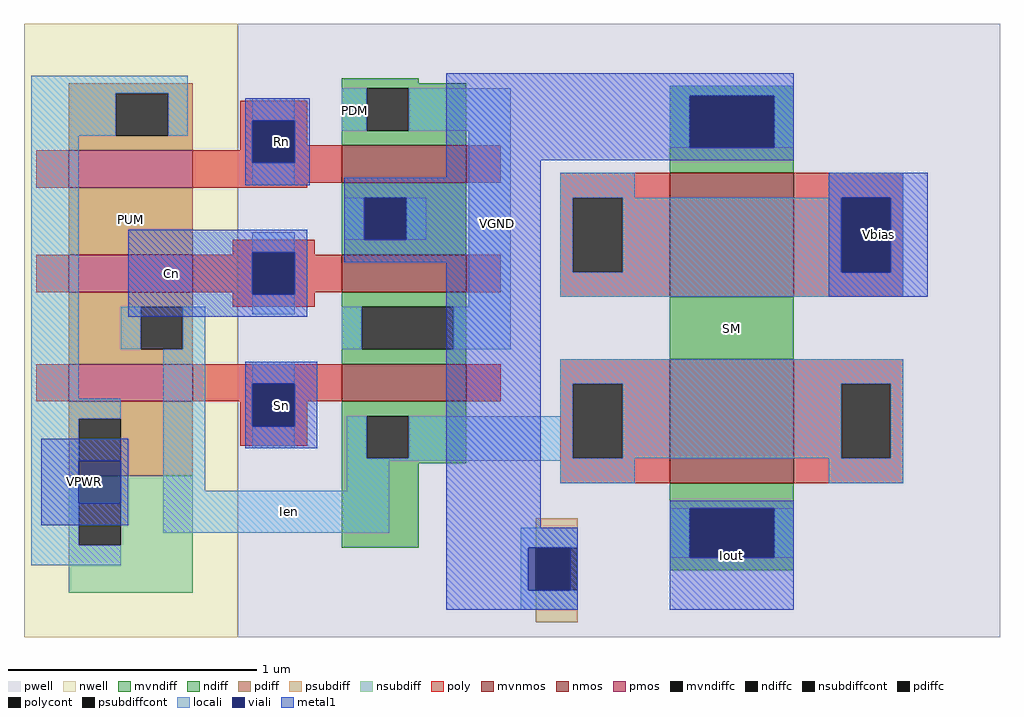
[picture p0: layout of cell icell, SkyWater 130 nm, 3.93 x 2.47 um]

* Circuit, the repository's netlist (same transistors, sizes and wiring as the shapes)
** sch_path: /home/anton/projects/ttsky25a-vga-matrix-dac/xschem/icell.sch
.subckt icell VPWR VGND Rn Cn Sn Vbias Iout
*.PININFO Rn:I VPWR:B Iout:O VGND:B Cn:I Sn:I Vbias:I
XMsp Ien Sn VPWR VPWR sky130_fd_pr__pfet_01v8 L=0.15 W=0.5 nf=1 m=1
XMsna Ien Sn PDM VGND sky130_fd_pr__nfet_01v8 L=0.15 W=0.5 nf=1 m=1
XMcpa Ien Cn PUM VPWR sky130_fd_pr__pfet_01v8 L=0.15 W=0.5 nf=1 m=1
XMrpa PUM Rn VPWR VPWR sky130_fd_pr__pfet_01v8 L=0.15 W=0.5 nf=1 m=1
XMrno PDM Rn VGND VGND sky130_fd_pr__nfet_01v8 L=0.15 W=0.5 nf=1 m=1
XMcno PDM Cn VGND VGND sky130_fd_pr__nfet_01v8 L=0.15 W=0.5 nf=1 m=1
XMiu SM Vbias VGND VGND sky130_fd_pr__nfet_g5v0d10v5 L=0.5 W=0.5 nf=1 m=1
XMsw Iout Ien SM VGND sky130_fd_pr__nfet_g5v0d10v5 L=0.5 W=0.5 nf=1 m=1
.ends

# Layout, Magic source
magic
tech sky130A
<< nwell >>
rect 0 -4 86 243
<< pwell >>
rect 86 -4 393 243
<< nmos >>
rect 128 179 178 194
rect 128 135 178 150
rect 128 91 178 106
<< pmos >>
rect 18 177 68 192
rect 18 135 68 150
rect 18 91 68 106
<< mvnmos >>
rect 260 133 310 183
rect 260 58 310 108
<< ndiff >>
rect 128 219 159 221
rect 128 217 178 219
rect 128 200 138 217
rect 155 200 178 217
rect 128 194 178 200
rect 128 173 178 179
rect 128 156 137 173
rect 154 156 178 173
rect 128 150 178 156
rect 128 129 178 135
rect 128 112 136 129
rect 173 112 178 129
rect 128 106 178 112
rect 128 85 178 91
rect 128 68 138 85
rect 155 68 178 85
rect 128 66 178 68
rect 128 32 159 66
<< pdiff >>
rect 18 215 68 219
rect 18 198 37 215
rect 58 198 68 215
rect 18 192 68 198
rect 18 150 68 177
rect 18 129 68 135
rect 18 112 47 129
rect 64 112 68 129
rect 18 106 68 112
rect 18 84 68 91
rect 18 67 22 84
rect 39 67 68 84
rect 18 61 68 67
<< mvndiff >>
rect 260 214 310 218
rect 260 193 268 214
rect 302 193 310 214
rect 260 183 310 193
rect 260 108 310 133
rect 260 48 310 58
rect 260 28 268 48
rect 302 28 310 48
rect 260 23 310 28
<< ndiffc >>
rect 138 200 155 217
rect 137 156 154 173
rect 136 112 173 129
rect 138 68 155 85
<< pdiffc >>
rect 37 198 58 215
rect 47 112 64 129
rect 22 67 39 84
<< mvndiffc >>
rect 268 193 302 214
rect 268 28 302 48
<< nsubdiff >>
rect 18 50 68 61
rect 18 33 22 50
rect 39 33 68 50
rect 18 14 68 33
<< psubdiff >>
rect 206 32 223 44
rect 206 2 223 15
<< nsubdiffcont >>
rect 22 33 39 50
<< psubdiffcont >>
rect 206 15 223 32
<< poly >>
rect 87 204 114 212
rect 87 192 92 204
rect 5 177 18 192
rect 68 187 92 192
rect 109 194 114 204
rect 109 187 128 194
rect 68 179 128 187
rect 178 179 192 194
rect 68 177 114 179
rect 84 151 117 156
rect 84 150 92 151
rect 5 135 18 150
rect 68 135 92 150
rect 84 134 92 135
rect 109 150 117 151
rect 216 173 260 183
rect 109 135 128 150
rect 178 135 192 150
rect 216 143 221 173
rect 241 143 260 173
rect 109 134 117 135
rect 84 129 117 134
rect 216 133 260 143
rect 310 173 354 183
rect 310 143 329 173
rect 349 143 354 173
rect 310 133 354 143
rect 5 91 18 106
rect 68 98 128 106
rect 68 91 92 98
rect 87 81 92 91
rect 109 91 128 98
rect 178 91 192 106
rect 216 98 260 108
rect 109 81 114 91
rect 87 73 114 81
rect 216 68 221 98
rect 241 68 260 98
rect 216 58 260 68
rect 310 98 354 108
rect 310 68 329 98
rect 349 68 354 98
rect 310 58 354 68
<< polycont >>
rect 92 187 109 204
rect 92 134 109 151
rect 221 143 241 173
rect 329 143 349 173
rect 92 81 109 98
rect 221 68 241 98
rect 329 68 349 98
<< locali >>
rect 3 215 66 222
rect 3 198 37 215
rect 58 198 66 215
rect 92 204 109 213
rect 3 92 22 198
rect 128 200 138 217
rect 155 200 196 217
rect 92 178 109 187
rect 92 151 109 159
rect 129 156 137 173
rect 154 156 162 173
rect 39 112 47 129
rect 64 112 73 129
rect 92 126 109 134
rect 179 129 196 200
rect 260 214 310 218
rect 260 193 268 214
rect 302 193 310 214
rect 216 173 246 183
rect 324 173 354 183
rect 216 143 221 173
rect 241 143 329 173
rect 349 143 354 173
rect 216 133 354 143
rect 128 112 136 129
rect 173 112 196 129
rect 3 84 39 92
rect 3 33 22 84
rect 56 55 73 112
rect 92 98 109 107
rect 216 98 354 108
rect 216 85 221 98
rect 92 72 109 81
rect 130 68 138 85
rect 155 68 221 85
rect 241 68 329 98
rect 349 68 354 98
rect 130 67 246 68
rect 130 55 147 67
rect 216 58 246 67
rect 324 58 354 68
rect 56 38 147 55
rect 3 25 39 33
rect 200 32 223 40
rect 200 15 203 32
rect 260 28 268 48
rect 302 28 310 48
rect 200 7 223 15
<< viali >>
rect 92 187 109 204
rect 137 156 154 173
rect 92 134 109 151
rect 268 193 302 214
rect 329 143 349 173
rect 22 50 39 67
rect 92 81 109 98
rect 203 15 206 32
rect 206 15 220 32
rect 268 28 302 48
<< metal1 >>
rect 170 214 310 223
rect 89 204 115 213
rect 89 187 92 204
rect 109 187 115 204
rect 89 178 115 187
rect 170 193 268 214
rect 302 193 310 214
rect 170 188 310 193
rect 170 181 208 188
rect 129 173 208 181
rect 42 151 114 160
rect 42 134 92 151
rect 109 134 114 151
rect 129 156 137 173
rect 154 156 208 173
rect 129 147 208 156
rect 42 125 114 134
rect 89 98 118 107
rect 89 81 92 98
rect 109 81 118 98
rect 7 67 42 76
rect 89 72 118 81
rect 7 50 22 67
rect 39 50 42 67
rect 7 41 42 50
rect 170 40 208 147
rect 324 173 364 183
rect 324 143 329 173
rect 349 143 364 173
rect 324 133 364 143
rect 260 48 310 51
rect 170 32 223 40
rect 170 15 203 32
rect 220 15 223 32
rect 170 7 223 15
rect 260 28 268 48
rect 302 28 310 48
rect 260 7 310 28
<< labels >>
flabel metal1 178 150 203 175 0 FreeSans 64 0 0 0 VGND
port 4 nsew
flabel metal1 265 12 305 46 0 FreeSans 64 0 0 0 Iout
port 5 nsew
flabel metal1 329 138 359 178 0 FreeSans 80 0 0 0 Vbias
port 1 nsew
flabel mvndiff 265 113 305 128 0 FreeSans 80 0 0 0 SM
flabel pdiff 26 157 60 171 0 FreeSans 80 0 0 0 PUM
flabel metal1 47 130 72 155 0 FreeSans 64 0 0 0 Cn
port 7 nsew
flabel metal1 92 75 115 104 0 FreeSans 64 0 0 0 Sn
port 11 nsew
flabel metal1 12 46 37 71 0 FreeSans 64 0 0 0 VPWR
port 9 nsew
flabel locali 92 39 122 54 0 FreeSans 80 0 0 0 Ien
flabel metal1 92 181 115 210 0 FreeSans 64 0 0 0 Rn
port 12 nsew
flabel locali 130 201 136 215 0 FreeSans 80 0 0 0 PDM
<< properties >>
string FIXED_BBOX 0 0 393 232
<< end >>
